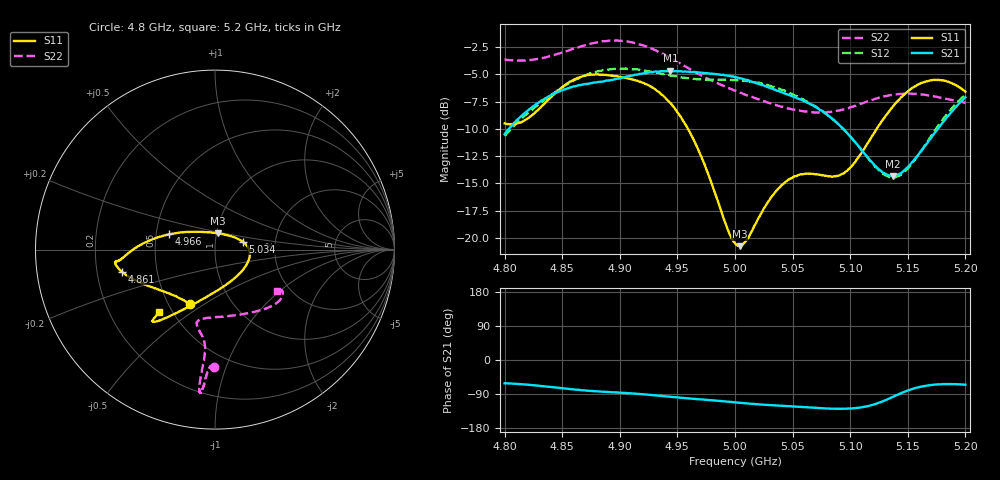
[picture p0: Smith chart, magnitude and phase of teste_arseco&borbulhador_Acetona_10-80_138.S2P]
! Network Analyzer HP8722D
! Hewlett-Packard
! Data name: Linha & Wilkinson
! Saver's name: Rodrigo Anjos
! Comments: Teste da utilização de aquisição
! continua pelo VNA HP8722D
! Time and date: 17/4/2025 15:30
!  Frequency  S11  S21  S12  S22
# HZ  S  MA R 50
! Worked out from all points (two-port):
!   401 points, 4.8 GHz to 5.2 GHz, reference 50 ohm
!   highest |S21| = -4.68 dB at 4.944 GHz (marker M1); lowest = -14.3 dB at 5.137 GHz (marker M2)
!   |S21| within 3 dB of the highest: 4.828 GHz to 5.065 GHz (236.6 MHz wide, 4.78 % of centre); 5.194426 GHz to end of sweep
!   lowest |S11| = -20.8 dB at 5.004 GHz (marker M3), VSWR 1.20, Z = 50.6 + j9.24 ohm
!   |S11| at or under -10 dB: 4.959 GHz to 5.123 GHz (163.9 MHz wide, 3.25 % of centre)
!   |S22| runs from -8.5 to -1.9 dB; largest |S21 - S12| = 0.88
!   S11 on the Smith chart (normalised r, x): 4.8 GHz: 0.64, -0.44; 4.861 GHz: 0.31, -0.11; 4.966 GHz: 0.59, +0.11; 5.034 GHz: 1.36, +0.13; 5.2 GHz: 0.43, -0.38
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4.8e9  0.335 -114.7  0.2987 -61.3  0.2933 -175.6  0.6567 -90.5
4.819e9  0.3499 -134.6  0.3794 -65.0  0.3678 -174.5  0.6519 -92.2
4.861e9  0.5344 -166.7  0.4951 -78.3  0.5292 -177.8  0.738 -94.6
4.867e9  0.5488 -169.0  0.5042 -79.9  0.5471 -178.9  0.7568 -94.7
4.898e9  0.5494 -173.3  0.5367 -85.6  0.5947 174.9  0.8029 -96.0
4.934e9  0.4664 -179.2  0.5788 -94.4  0.5698 171.0  0.7109 -96.4
4.944e9  0.4149 176.3  0.5832 -97.1  0.5538 171.2  0.6684 -96.2
4.966e9  0.2681 161.5  0.5741 -102.7  0.5338 173.1  0.5731 -95.4
4.994e9  0.1084 115.9  0.5535 -110.0  0.5296 175.4  0.487 -98.4
5e9  0.09472 95.7  0.5453 -111.9  0.53 175.5  0.4724 -99.6
5.004e9  0.09165 80.9  0.5393 -113.0  0.5269 175.3  0.4643 -100.5
5.011e9  0.09917 56.9  0.5293 -114.9  0.5235 175.3  0.4495 -102.0
5.034e9  0.1599 16.3  0.4779 -119.9  0.4915 174.2  0.4083 -103.5
5.05e9  0.1891 0.5  0.4458 -122.7  0.4554 173.4  0.388 -99.1
5.067e9  0.1967 -17.8  0.4059 -125.4  0.4093 173.0  0.3764 -89.9
5.096e9  0.2014 -68.3  0.3075 -128.6  0.3076 174.5  0.3906 -67.2
5.122e9  0.3101 -108.8  0.2132 -115.9  0.2109 -170.6  0.4342 -49.1
5.134e9  0.3815 -118.4  0.1935 -101.5  0.19 -154.4  0.4502 -43.1
5.137e9  0.3994 -120.1  0.1923 -97.4  0.1893 -149.6  0.4532 -41.8
5.15e9  0.4692 -125.8  0.2106 -80.6  0.2078 -130.2  0.4581 -37.0
5.17e9  0.5273 -130.2  0.2861 -66.1  0.2918 -112.2  0.4477 -32.4
5.2e9  0.4673 -131.6  0.4413 -65.2  0.453 -107.4  0.4159 -34.0
